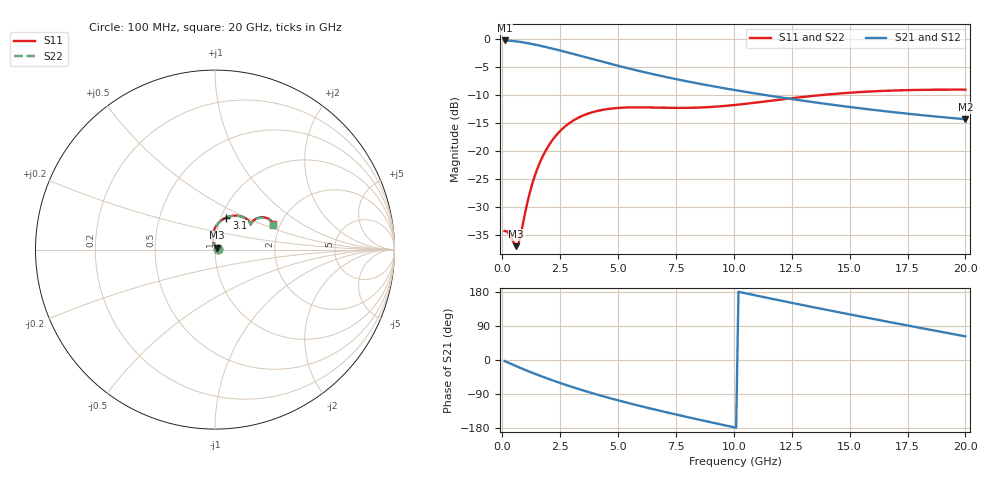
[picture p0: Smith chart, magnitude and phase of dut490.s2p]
! Touchstone file exported from HFSS 2024.1.0
!  File:  C:/UserFiles/LocalFiles/RDL_TSV_Batchsim/temp_RDL_TSV_490_1779734558.aedt
!  Generated:  03:03:29 AM May 26, 2026
!  Design:  RDL_TSV
!  Project:  temp_RDL_TSV_490_1779734558
!  Setup:  Setup1
!  Solution:  Sweep
! Variables:
!  dtsv = 12.92um
!  hbump = 3um
!  htsv = 97.76um
!  ldown = 594.33um
!  lrdl = 595.02um
!  p = 40
!  p1 = 56.81um
!  rhole = 10um
!  subl = 4163.07um
!  t = 450um
!  tdown = 4.58um
!  trdl = 3.72um
!  viad = 10um
!  wdown = 14.77um
!  wrdl = 23.55um
!  xbump = 18um
# GHz S MA R 50.000000
! Terminal data exported
! Port[1] = TM1_1_T1
! Port[2] = TM1_4_T1
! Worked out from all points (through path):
!   200 points, 100 MHz to 20 GHz, reference 50 ohm
!   highest |S21| = -0.18 dB at 100 MHz (marker M1); lowest = -14.3 dB at 20 GHz (marker M2)
!   group delay of S21, straight-line fit = 38.8 ps
!   lowest |S11| = -37.1 dB at 600 MHz (marker M3), VSWR 1.03, Z = 51 + j1.02 ohm
!   |S11| at or under -10 dB: start of sweep to 13.69 GHz
!   |S22| runs from -37.0 to -9.0 dB; largest |S21 - S12| = 1.2e-13
!   S11 on the Smith chart (normalised r, x): 100 MHz: 1.04, +0.00; 3.1 GHz: 1.06, +0.39; 20 GHz: 1.84, +0.60
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0.1  0.0192 5.0  0.98 -2.8  0.98 -2.8  0.0192 5.0
! Gamma 0 0 0 0
! Port Impedance 50 0 50 0
0.3  0.01812 12.7  0.9755 -8.2  0.9755 -8.2  0.01813 12.7
0.6  0.01404 45.2  0.962 -16.2  0.962 -16.2  0.01405 45.1
0.7  0.01487 64.2  0.956 -18.8  0.956 -18.8  0.01486 64.0
0.8  0.01786 80.6  0.9494 -21.4  0.9494 -21.4  0.01784 80.4
1.1  0.03573 100.9  0.9265 -29.0  0.9265 -29.0  0.03565 100.8
1.3  0.05135 102.5  0.9096 -33.9  0.9096 -33.9  0.05122 102.4
1.7  0.08569 97.8  0.8731 -43.2  0.8731 -43.2  0.08549 97.7
2.3  0.1362 85.9  0.8155 -56.5  0.8155 -56.5  0.1358 85.9
3.1  0.1895 70.5  0.7386 -72.8  0.7386 -72.8  0.1891 70.5
3.5  0.2087 63.9  0.7019 -80.5  0.7019 -80.5  0.2082 63.8
4.2  0.2312 54.1  0.6418 -93.1  0.6418 -93.1  0.2306 54.0
5  0.2434 45.7  0.581 -106.5  0.581 -106.5  0.2428 45.6
5.9  0.2465 39.4  0.5227 -120.6  0.5227 -120.6  0.246 39.4
6.8  0.2449 36.1  0.4739 -133.9  0.4739 -133.9  0.2444 36.0
8.3  0.2445 35.2  0.409 -154.8  0.409 -154.8  0.2439 35.0
10.1  0.2594 36.8  0.3502 -178.7  0.3502 -178.7  0.2587 36.7
11.7  0.284 37.0  0.3096 160.8  0.3096 160.8  0.2831 36.9
13.4  0.3119 35.2  0.2748 139.7  0.2748 139.7  0.3108 35.0
15  0.3332 32.2  0.2482 120.4  0.2482 120.4  0.3318 32.1
16.7  0.3477 28.8  0.2253 100.4  0.2253 100.4  0.3461 28.6
20  0.355 23.5  0.1929 62.3  0.1929 62.3  0.3531 23.3
